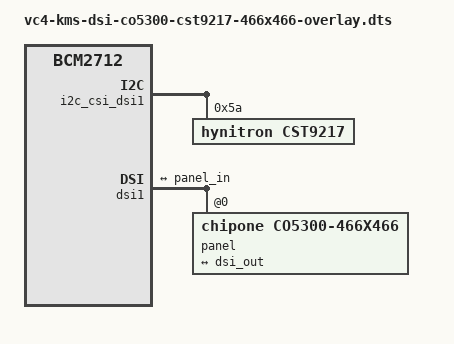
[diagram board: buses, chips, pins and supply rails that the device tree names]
/dts-v1/;
/plugin/;

/ {
	compatible = "raspberrypi,5-model-b", "brcm,bcm2712";

	fragment@0 {
		target = <&i2c_csi_dsi1>;
		__overlay__ {
			#address-cells = <1>;
			#size-cells = <0>;
			status = "okay";

			cst9217: touchscreen@5a {
				compatible = "hynitron,cst9217";
				reg = <0x5a>;
				status = "okay";

				touchscreen-size-x = <466>;
				touchscreen-size-y = <466>;

				/* 可选：有接线时再打开
				interrupt-parent = <&gpio>;
				interrupts = <17 IRQ_TYPE_EDGE_FALLING>;
				reset-gpios = <&gpio 27 GPIO_ACTIVE_LOW>;
				*/
			};
		};
	};

	fragment@1 {
		target = <&dsi1>;
		__overlay__ {
			status = "okay";
			#address-cells = <1>;
			#size-cells = <0>;

			port {
				dsi_out: endpoint {
					remote-endpoint = <&panel_in>;
				};
			};

			panel@0 {
				compatible = "chipone,co5300-466x466";
				reg = <0>;
				status = "okay";

				/* 如果有 Reset 引脚，取消注释并改成实际 GPIO */
				/* reset-gpios = <&gpio 17 0>; */

				port {
					panel_in: endpoint {
						remote-endpoint = <&dsi_out>;
					};
				};
			};
		};
	};
};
